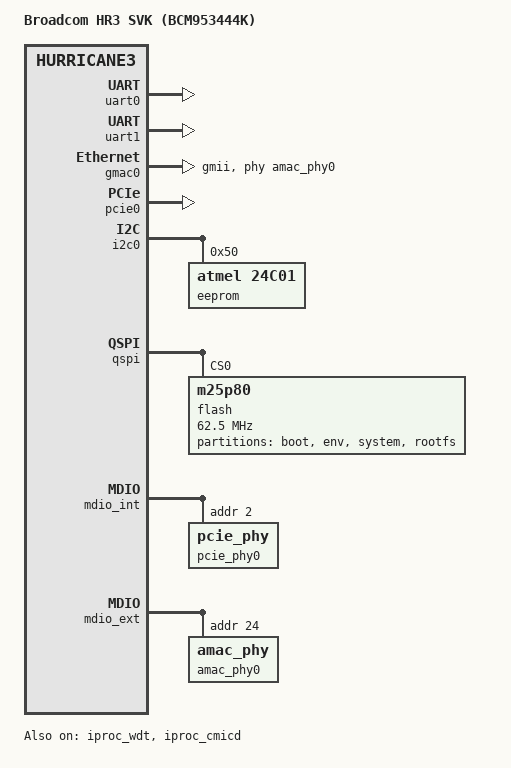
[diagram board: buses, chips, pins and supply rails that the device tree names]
/*
 *  BSD LICENSE
 *
 *  Copyright(c) 2016 Broadcom Corporation.  All rights reserved.
 *
 *  Redistribution and use in source and binary forms, with or without
 *  modification, are permitted provided that the following conditions
 *  are met:
 *
 *    * Redistributions of source code must retain the above copyright
 *      notice, this list of conditions and the following disclaimer.
 *    * Redistributions in binary form must reproduce the above copyright
 *      notice, this list of conditions and the following disclaimer in
 *      the documentation and/or other materials provided with the
 *      distribution.
 *    * Neither the name of Broadcom Corporation nor the names of its
 *      contributors may be used to endorse or promote products derived
 *      from this software without specific prior written permission.
 *
 *  THIS SOFTWARE IS PROVIDED BY THE COPYRIGHT HOLDERS AND CONTRIBUTORS
 *  "AS IS" AND ANY EXPRESS OR IMPLIED WARRANTIES, INCLUDING, BUT NOT
 *  LIMITED TO, THE IMPLIED WARRANTIES OF MERCHANTABILITY AND FITNESS FOR
 *  A PARTICULAR PURPOSE ARE DISCLAIMED. IN NO EVENT SHALL THE COPYRIGHT
 *  OWNER OR CONTRIBUTORS BE LIABLE FOR ANY DIRECT, INDIRECT, INCIDENTAL,
 *  SPECIAL, EXEMPLARY, OR CONSEQUENTIAL DAMAGES (INCLUDING, BUT NOT
 *  LIMITED TO, PROCUREMENT OF SUBSTITUTE GOODS OR SERVICES; LOSS OF USE,
 *  DATA, OR PROFITS; OR BUSINESS INTERRUPTION) HOWEVER CAUSED AND ON ANY
 *  THEORY OF LIABILITY, WHETHER IN CONTRACT, STRICT LIABILITY, OR TORT
 *  (INCLUDING NEGLIGENCE OR OTHERWISE) ARISING IN ANY WAY OUT OF THE USE
 *  OF THIS SOFTWARE, EVEN IF ADVISED OF THE POSSIBILITY OF SUCH DAMAGE.
 */

/dts-v1/;

#include "bcm-hurricane3.dtsi"

/ {
	model = "Broadcom HR3 SVK (BCM953444K)";
	compatible = "brcm,bcm953444k", "brcm,hurricane3";

	aliases {
		serial0 = &uart0;
		serial1 = &uart1;
		ethernet0 = &gmac0;
	};

	chosen {
		bootargs = "console=ttyS0,115200n8 maxcpus=1 mem=496M";
	};
};

&uart0 {
	status = "okay";
};

&uart1 {
	status = "okay";
};

&gmac0 {
	status = "okay";
	phy-handle = <&amac_phy0>;
	phy-mode = "gmii"; /* "gmii-id", "gmii-rxid" */
};

&gpio_ccg {
	status = "okay";
};

&pcie0 {
	status = "okay";
	mdio-phy-handle = <&pcie_phy0>;
};

&i2c0 {
	status = "okay";
	eeprom@0x50 {
		compatible = "atmel,24c01";
		reg = <0x50>;
		pagesize = <8>;
	};
};

&qspi {
	status = "okay";
	flash: m25p80@0 {
		#address-cells = <1>;
		#size-cells = <1>;
		compatible = "m25p80";
		m25p,fast-read = <1>;
		spi-max-frequency = <62500000>;
		reg = <0x0>;
		partition@0 {
			label = "boot";
			reg = <0x00000000 0x000c0000>;
			/*read-only;*/
		};
		partition@1 {
			label = "env";
			reg = <0x000c0000 0x00040000>;
		};
		partition@2 {
			label = "system";
			reg = <0x00100000 0x00f00000>;
		};
		partition@3 {
			label = "rootfs";
			reg = <0x01000000 0x03000000>;
		};
	};
};

&mdio_int {
	status = "okay";
	pcie_phy0: pcie_phy@0 {
		reg = <2>;
	};
};

&mdio_ext {
	#bus-id = <1>;
	status = "okay";
	amac_phy0: amac_phy@0 {
		reg = <24>;
	};
};

&iproc_wdt {
	status = "okay";
};

&iproc_cmicd {
	status = "okay";
};
